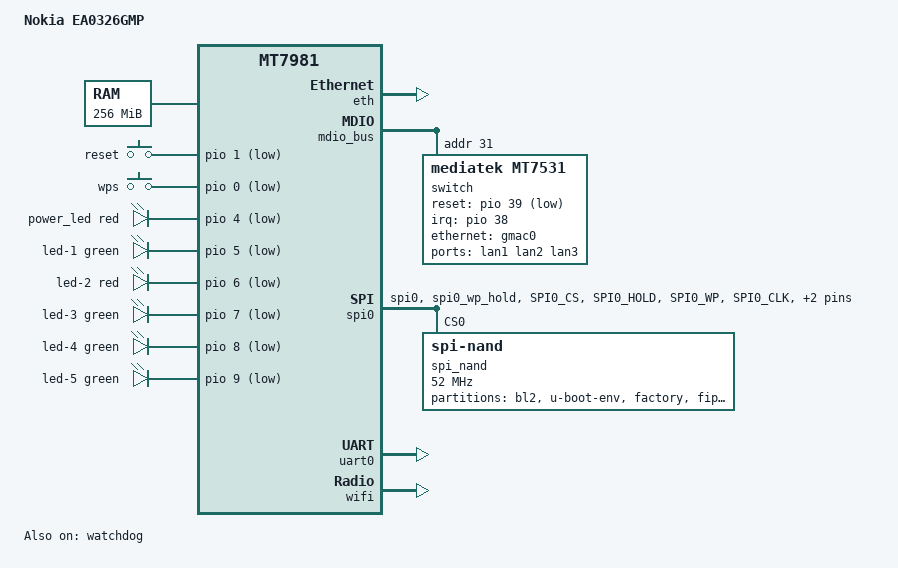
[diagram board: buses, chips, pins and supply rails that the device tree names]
// SPDX-License-Identifier: GPL-2.0-or-later OR MIT

/dts-v1/;
#include <dt-bindings/gpio/gpio.h>
#include <dt-bindings/input/input.h>
#include <dt-bindings/leds/common.h>
#include <dt-bindings/pinctrl/mt65xx.h>

#include "mt7981b.dtsi"

/ {
	model = "Nokia EA0326GMP";
	compatible = "nokia,ea0326gmp", "mediatek,mt7981";

	aliases {
		led-boot = &power_led;
		led-running = &power_led;
		led-failsafe = &power_led;
		led-upgrade = &power_led;
		label-mac-device = &gmac1;
		serial0 = &uart0;
	};

	chosen {
		rootdisk = <&ubi_rootdisk>;
		stdout-path = "serial0:115200n8";
	};

	memory@40000000 {
		reg = <0 0x40000000 0 0x10000000>;
		device_type = "memory";
	};

	gpio-keys {
		compatible = "gpio-keys";

		button-reset {
			label = "reset";
			linux,code = <KEY_RESTART>;
			gpios = <&pio 1 GPIO_ACTIVE_LOW>;
		};

		button-wps {
			label = "wps";
			linux,code = <KEY_WPS_BUTTON>;
			gpios = <&pio 0 GPIO_ACTIVE_LOW>;
		};
	};

	gpio-leds {
		compatible = "gpio-leds";

		power_led: led-0 {
			color = <LED_COLOR_ID_RED>;
			function = LED_FUNCTION_POWER;
			gpios = <&pio 4 GPIO_ACTIVE_LOW>;
		};

		led-1 {
			color = <LED_COLOR_ID_GREEN>;
			function = LED_FUNCTION_WAN;
			gpios = <&pio 5 GPIO_ACTIVE_LOW>;
		};

		led-2 {
			color = <LED_COLOR_ID_RED>;
			function = LED_FUNCTION_WAN;
			gpios = <&pio 6 GPIO_ACTIVE_LOW>;
		};

		led-3 {
			color = <LED_COLOR_ID_GREEN>;
			function = LED_FUNCTION_LAN;
			gpios = <&pio 7 GPIO_ACTIVE_LOW>;
		};

		led-4 {
			color = <LED_COLOR_ID_GREEN>;
			function = LED_FUNCTION_WLAN;
			gpios = <&pio 8 GPIO_ACTIVE_LOW>;
		};

		led-5 {
			color = <LED_COLOR_ID_GREEN>;
			function = LED_FUNCTION_WPS;
			gpios = <&pio 9 GPIO_ACTIVE_LOW>;
		};
	};
};

&eth {
	pinctrl-names = "default";
	pinctrl-0 = <&mdio_pins>;
	status = "okay";

	gmac0: mac@0 {
		compatible = "mediatek,eth-mac";
		reg = <0>;
		phy-mode = "2500base-x";

		nvmem-cells = <&macaddr_factory_28 0>;
		nvmem-cell-names = "mac-address";

		fixed-link {
			speed = <2500>;
			full-duplex;
			pause;
		};
	};

	gmac1: mac@1 {
		compatible = "mediatek,eth-mac";
		reg = <1>;
		phy-mode = "gmii";
		phy-handle = <&int_gbe_phy>;

		nvmem-cells = <&macaddr_factory_28 3>;
		nvmem-cell-names = "mac-address";
	};
};

&mdio_bus {
	switch: switch@1f {
		compatible = "mediatek,mt7531";
		reg = <31>;
		reset-gpios = <&pio 39 GPIO_ACTIVE_LOW>;
		interrupt-controller;
		#interrupt-cells = <1>;
		interrupt-parent = <&pio>;
		interrupts = <38 IRQ_TYPE_LEVEL_HIGH>;
	};
};

&pio {
	spi0_flash_pins: spi0-pins {
		mux {
			function = "spi";
			groups = "spi0", "spi0_wp_hold";
		};

		conf-pu {
			pins = "SPI0_CS", "SPI0_HOLD", "SPI0_WP";
			drive-strength = <MTK_DRIVE_8mA>;
			bias-disable; /* bias-disable */
		};

		conf-pd {
			pins = "SPI0_CLK", "SPI0_MOSI", "SPI0_MISO";
			drive-strength = <MTK_DRIVE_8mA>;
			bias-disable; /* bias-disable */
		};
	};
};

&spi0 {
	pinctrl-names = "default";
	pinctrl-0 = <&spi0_flash_pins>;
	status = "okay";

	spi_nand: flash@0 {
		#address-cells = <1>;
		#size-cells = <1>;
		compatible = "spi-nand";
		reg = <0>;

		spi-max-frequency = <52000000>;
		spi-tx-bus-width = <4>;
		spi-rx-bus-width = <4>;

		partitions {
			compatible = "fixed-partitions";
			#address-cells = <1>;
			#size-cells = <1>;

			partition@0 {
				label = "bl2";
				reg = <0x00000 0x0100000>;
				read-only;
			};

			partition@100000 {
				label = "u-boot-env";
				reg = <0x0100000 0x0080000>;
			};

			partition@180000 {
				label = "factory";
				reg = <0x180000 0x0200000>;
				read-only;

				nvmem-layout {
					compatible = "fixed-layout";
					#address-cells = <1>;
					#size-cells = <1>;

					eeprom_factory_0: eeprom@0 {
						reg = <0x0 0x1000>;
					};

					macaddr_factory_28: macaddr@28 {
						compatible = "mac-base";
						reg = <0x28 0x6>;
						#nvmem-cell-cells = <1>;
					};
				};
			};

			partition@380000 {
				label = "fip";
				reg = <0x380000 0x0200000>;
				read-only;
			};

			partition@580000 {
				label = "config";
				reg = <0x580000 0x200000>;
				read-only;
			};

			partition@780000 {
				label = "config2";
				reg = <0x780000 0x200000>;
				read-only;
			};

			partition@980000 {
				compatible = "linux,ubi";
				label = "ubi";
				reg = <0x980000 0x7680000>;

				volumes {
					ubi_rootdisk: ubi-volume-fit {
						volname = "fit";
					};
				};
			};
		};
	};
};

&switch {
	ports {
		#address-cells = <1>;
		#size-cells = <0>;

		port@1 {
			reg = <1>;
			label = "lan1";
		};

		port@2 {
			reg = <2>;
			label = "lan2";
		};

		port@3 {
			reg = <3>;
			label = "lan3";
		};

		port@6 {
			reg = <6>;
			ethernet = <&gmac0>;
			phy-mode = "2500base-x";

			fixed-link {
				speed = <2500>;
				full-duplex;
				pause;
			};
		};
	};
};

&uart0 {
	status = "okay";
};

&watchdog {
	status = "okay";
};

&wifi {
	nvmem-cells = <&eeprom_factory_0>;
	nvmem-cell-names = "eeprom";
	status = "okay";
};
